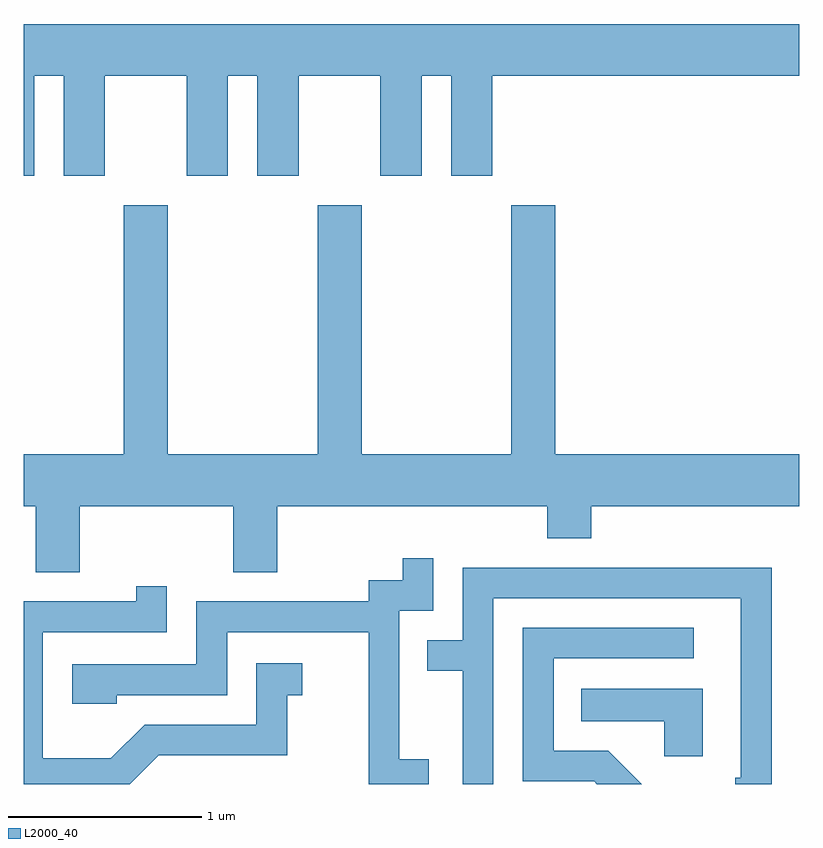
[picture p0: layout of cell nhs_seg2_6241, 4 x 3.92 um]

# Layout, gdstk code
import gdstk
lib = gdstk.Library(unit=1e-6, precision=1e-09)
def P(c, l, *ps):  # polygons
    for p in ps: c.add(gdstk.Polygon(p, *l))
L2000_40 = (2000, 40)

nhs_seg2_6241 = lib.new_cell('nhs_seg2_6241')
P(nhs_seg2_6241, L2000_40, [(369.664,1019.456),(369.816,1019.456),(369.816,1018.941),(370.029,1018.941),(370.029,1019.456),(370.451,1019.456),(370.451,1018.941),(370.664,1018.941),(370.664,1019.456),(370.816,1019.456),(370.816,1018.941),(371.029,1018.941),(371.029,1019.456),(371.451,1019.456),(371.451,1018.941),(371.664,1018.941),(371.664,1019.456),(371.816,1019.456),(371.816,1018.941),(372.029,1018.941),(372.029,1019.456),(373.611,1019.456),(373.611,1019.724),(369.611,1019.724),(369.611,1018.941),(369.664,1018.941)],
  [(369.899,1017.236),(370.691,1017.236),(370.691,1016.896),(370.919,1016.896),(370.919,1017.236),(372.311,1017.236),(372.311,1017.071),(372.539,1017.071),(372.539,1017.236),(373.611,1017.236),(373.611,1017.504),(372.354,1017.504),(372.354,1018.789),(372.126,1018.789),(372.126,1017.504),(371.354,1017.504),(371.354,1018.789),(371.126,1018.789),(371.126,1017.504),(370.354,1017.504),(370.354,1018.789),(370.126,1018.789),(370.126,1017.504),(369.611,1017.504),(369.611,1017.236),(369.671,1017.236),(369.671,1016.896),(369.899,1016.896)],
  [(371.699,1015.929),(371.549,1015.929),(371.549,1016.696),(371.724,1016.696),(371.724,1016.968),(371.566,1016.968),(371.566,1016.854),(371.391,1016.854),(371.391,1016.744),(370.501,1016.744),(370.501,1016.419),(369.861,1016.419),(369.861,1016.216),(370.089,1016.216),(370.089,1016.261),(370.659,1016.261),(370.659,1016.586),(371.391,1016.586),(371.391,1015.802),(371.699,1015.802)],
  [(372.034,1016.761),(373.311,1016.761),(373.311,1015.834),(373.281,1015.834),(373.281,1015.802),(373.469,1015.802),(373.469,1016.919),(371.876,1016.919),(371.876,1016.544),(371.693,1016.544),(371.693,1016.386),(371.876,1016.386),(371.876,1015.802),(372.034,1015.802)],
  [(370.307,1015.951),(370.969,1015.951),(370.969,1016.261),(371.048,1016.261),(371.048,1016.424),(370.811,1016.424),(370.811,1016.109),(370.234,1016.109),(370.059,1015.934),(369.709,1015.934),(369.709,1016.586),(370.349,1016.586),(370.349,1016.823),(370.191,1016.823),(370.191,1016.744),(369.611,1016.744),(369.611,1015.802),(370.158,1015.802)],
  [(372.627,1015.974),(372.344,1015.974),(372.344,1016.451),(373.068,1016.451),(373.068,1016.609),(372.186,1016.609),(372.186,1015.816),(372.554,1015.816),(372.568,1015.802),(372.799,1015.802)],
  [(373.114,1016.294),(372.488,1016.294),(372.488,1016.126),(372.916,1016.126),(372.916,1015.946),(373.114,1015.946)])

lib.write_gds('nhs_seg2_6241.gds')
